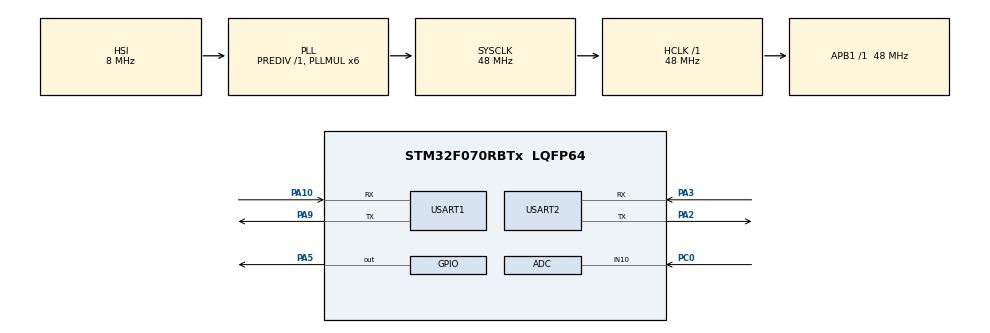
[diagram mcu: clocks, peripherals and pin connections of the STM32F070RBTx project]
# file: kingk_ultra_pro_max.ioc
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ADC.ContinuousConvMode=ENABLE
Mcu.Family=STM32F0
Mcu.Name=STM32F070RBTx
Mcu.Package=LQFP64
NVIC.ADC1_IRQn=true\:1\:0\:true\:false\:true\:true\:true\:true
NVIC.TIM16_IRQn=true\:0\:0\:false\:false\:true\:true\:true\:true
PA10.Mode=Asynchronous
PA10.Signal=USART1_RX
PA2.Mode=Asynchronous
PA2.Signal=USART2_TX
PA3.Mode=Asynchronous
PA3.Signal=USART2_RX
PA5.Signal=GPIO_Output
PA9.Mode=Asynchronous
PA9.Signal=USART1_TX
PC0.Mode=IN10
PC0.Signal=ADC_IN10
ProjectManager.HeapSize=0x200
ProjectManager.StackSize=0x400
ProjectManager.TargetToolchain=MDK-ARM V5.32
RCC.AHBFreq_Value=48000000
RCC.APB1Freq_Value=48000000
RCC.APB1TimFreq_Value=48000000
RCC.HCLKFreq_Value=48000000
RCC.PLLMUL=RCC_PLL_MUL6
RCC.SYSCLKFreq_VALUE=48000000
RCC.SYSCLKSource=RCC_SYSCLKSOURCE_PLLCLK
TIM16.Period=1000-1
TIM16.Prescaler=48000-1
USART1.VirtualMode-Asynchronous=VM_ASYNC
USART2.VirtualMode-Asynchronous=VM_ASYNC
VP_TIM16_VS_ClockSourceINT.Mode=Enable_Timer
board=custom

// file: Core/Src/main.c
/* USER CODE BEGIN Header */
/**
  ******************************************************************************
  * @file           : main.c
  * @brief          : Main program body
  ******************************************************************************
  * @attention
  *
  * Copyright (c) 2023 STMicroelectronics.
  * All rights reserved.
  *
  * This software is licensed under terms that can be found in the LICENSE file
  * in the root directory of this software component.
  * If no LICENSE file comes with this software, it is provided AS-IS.
  *
  ******************************************************************************
  */
/* USER CODE END Header */
#include "main.h"

/* USER CODE BEGIN Includes */
#include "string.h"
#include "stdio.h"
/* USER CODE END Includes */

ADC_HandleTypeDef hadc;

TIM_HandleTypeDef htim16;

UART_HandleTypeDef huart1;
UART_HandleTypeDef huart2;

/* USER CODE BEGIN PV */
int cnt = 0,maxCnt=-1;
uint8_t tx_buffer[] = "Hello\n";
int oneSecondFlag = 0,countFlag=0;
uint16_t adc_buffer;
char buffer_str[5],max_buffer[5010];
/* USER CODE END PV */

void SystemClock_Config(void);
static void MX_GPIO_Init(void);
static void MX_ADC_Init(void);
static void MX_TIM16_Init(void);
static void MX_USART1_UART_Init(void);
static void MX_USART2_UART_Init(void);

/* USER CODE BEGIN 0 */
void HAL_TIM_PeriodElapsedCallback(TIM_HandleTypeDef *htim){
	oneSecondFlag = 1;
	HAL_ADC_Stop_IT(&hadc);
	if (cnt > maxCnt) maxCnt = cnt;
	cnt = 0;

}

void HAL_ADC_ConvCpltCallback(ADC_HandleTypeDef* hadc){
	cnt++;
	adc_buffer = HAL_ADC_GetValue(hadc);
	sprintf(buffer_str, "%u\n", adc_buffer);
	if(strlen(max_buffer) + strlen(buffer_str) < 5010) {
        strcat(max_buffer, buffer_str);
    }

}

void HAL_UART_TxCpltCallback(UART_HandleTypeDef *huart) {

}
/* USER CODE END 0 */

int main(void)
{

  /* MCU Configuration--------------------------------------------------------*/

  /* Reset of all peripherals, Initializes the Flash interface and the Systick. */
  HAL_Init();

  /* Configure the system clock */
  SystemClock_Config();

  /* Initialize all configured peripherals */
  MX_GPIO_Init();
  MX_ADC_Init();
  MX_TIM16_Init();
  MX_USART1_UART_Init();
  MX_USART2_UART_Init();
  /* USER CODE BEGIN 2 */
	HAL_TIM_Base_Start_IT(&htim16);
	HAL_ADC_Start_IT(&hadc);
  /* USER CODE END 2 */

  /* Infinite loop */
  while (1)
  {

    /* USER CODE BEGIN 3 */
		if (oneSecondFlag == 1){
			oneSecondFlag = 0;
		//HAL_UART_Transmit(&huart2,(uint8_t*)tx_buffer,sizeof(tx_buffer),HAL_MAX_DELAY);
		//HAL_UART_Transmit(&huart1,(uint8_t*)max_buffer,sizeof(max_buffer),HAL_MAX_DELAY);
		HAL_UART_Transmit(&huart2,(uint8_t*)max_buffer,sizeof(max_buffer),HAL_MAX_DELAY);
			memset(max_buffer, '\0', sizeof(max_buffer));
			HAL_ADC_Start_IT(&hadc);
	  //HAL_Delay(1000);

		}
		else {
			HAL_UART_Transmit_IT(&huart1,(uint8_t*)"$ ",2);
			HAL_ADC_Start_IT(&hadc);
		}

  }
  /* USER CODE END 3 */
}

void SystemClock_Config(void)
{
  RCC_OscInitTypeDef RCC_OscInitStruct = {0};
  RCC_ClkInitTypeDef RCC_ClkInitStruct = {0};
  RCC_PeriphCLKInitTypeDef PeriphClkInit = {0};

  /** Initializes the RCC Oscillators according to the specified parameters
  * in the RCC_OscInitTypeDef structure.
  */
  RCC_OscInitStruct.OscillatorType = RCC_OSCILLATORTYPE_HSI|RCC_OSCILLATORTYPE_HSI14;
  RCC_OscInitStruct.HSIState = RCC_HSI_ON;
  RCC_OscInitStruct.HSI14State = RCC_HSI14_ON;
  RCC_OscInitStruct.HSICalibrationValue = RCC_HSICALIBRATION_DEFAULT;
  RCC_OscInitStruct.HSI14CalibrationValue = 16;
  RCC_OscInitStruct.PLL.PLLState = RCC_PLL_ON;
  RCC_OscInitStruct.PLL.PLLSource = RCC_PLLSOURCE_HSI;
  RCC_OscInitStruct.PLL.PLLMUL = RCC_PLL_MUL6;
  RCC_OscInitStruct.PLL.PREDIV = RCC_PREDIV_DIV1;
  if (HAL_RCC_OscConfig(&RCC_OscInitStruct) != HAL_OK)
  {
    Error_Handler();
  }

  /** Initializes the CPU, AHB and APB buses clocks
  */
  RCC_ClkInitStruct.ClockType = RCC_CLOCKTYPE_HCLK|RCC_CLOCKTYPE_SYSCLK
                              |RCC_CLOCKTYPE_PCLK1;
  RCC_ClkInitStruct.SYSCLKSource = RCC_SYSCLKSOURCE_PLLCLK;
  RCC_ClkInitStruct.AHBCLKDivider = RCC_SYSCLK_DIV1;
  RCC_ClkInitStruct.APB1CLKDivider = RCC_HCLK_DIV1;

  if (HAL_RCC_ClockConfig(&RCC_ClkInitStruct, FLASH_LATENCY_1) != HAL_OK)
  {
    Error_Handler();
  }
  PeriphClkInit.PeriphClockSelection = RCC_PERIPHCLK_USART1;
  PeriphClkInit.Usart1ClockSelection = RCC_USART1CLKSOURCE_PCLK1;
  if (HAL_RCCEx_PeriphCLKConfig(&PeriphClkInit) != HAL_OK)
  {
    Error_Handler();
  }
}

static void MX_ADC_Init(void)
{

  ADC_ChannelConfTypeDef sConfig = {0};

  /** Configure the global features of the ADC (Clock, Resolution, Data Alignment and number of conversion)
  */
  hadc.Instance = ADC1;
  hadc.Init.ClockPrescaler = ADC_CLOCK_ASYNC_DIV1;
  hadc.Init.Resolution = ADC_RESOLUTION_12B;
  hadc.Init.DataAlign = ADC_DATAALIGN_RIGHT;
  hadc.Init.ScanConvMode = ADC_SCAN_DIRECTION_FORWARD;
  hadc.Init.EOCSelection = ADC_EOC_SINGLE_CONV;
  hadc.Init.LowPowerAutoWait = DISABLE;
  hadc.Init.LowPowerAutoPowerOff = DISABLE;
  hadc.Init.ContinuousConvMode = ENABLE;
  hadc.Init.DiscontinuousConvMode = DISABLE;
  hadc.Init.ExternalTrigConv = ADC_SOFTWARE_START;
  hadc.Init.ExternalTrigConvEdge = ADC_EXTERNALTRIGCONVEDGE_NONE;
  hadc.Init.DMAContinuousRequests = DISABLE;
  hadc.Init.Overrun = ADC_OVR_DATA_PRESERVED;
  if (HAL_ADC_Init(&hadc) != HAL_OK)
  {
    Error_Handler();
  }

  /** Configure for the selected ADC regular channel to be converted.
  */
  sConfig.Channel = ADC_CHANNEL_10;
  sConfig.Rank = ADC_RANK_CHANNEL_NUMBER;
  sConfig.SamplingTime = ADC_SAMPLETIME_1CYCLE_5;
  if (HAL_ADC_ConfigChannel(&hadc, &sConfig) != HAL_OK)
  {
    Error_Handler();
  }

}

static void MX_TIM16_Init(void)
{

  htim16.Instance = TIM16;
  htim16.Init.Prescaler = 48000-1;
  htim16.Init.CounterMode = TIM_COUNTERMODE_UP;
  htim16.Init.Period = 1000-1;
  htim16.Init.ClockDivision = TIM_CLOCKDIVISION_DIV1;
  htim16.Init.RepetitionCounter = 0;
  htim16.Init.AutoReloadPreload = TIM_AUTORELOAD_PRELOAD_DISABLE;
  if (HAL_TIM_Base_Init(&htim16) != HAL_OK)
  {
    Error_Handler();
  }

}

static void MX_USART1_UART_Init(void)
{

  huart1.Instance = USART1;
  huart1.Init.BaudRate = 38400;
  huart1.Init.WordLength = UART_WORDLENGTH_8B;
  huart1.Init.StopBits = UART_STOPBITS_1;
  huart1.Init.Parity = UART_PARITY_NONE;
  huart1.Init.Mode = UART_MODE_TX_RX;
  huart1.Init.HwFlowCtl = UART_HWCONTROL_NONE;
  huart1.Init.OverSampling = UART_OVERSAMPLING_16;
  huart1.Init.OneBitSampling = UART_ONE_BIT_SAMPLE_DISABLE;
  huart1.AdvancedInit.AdvFeatureInit = UART_ADVFEATURE_NO_INIT;
  if (HAL_UART_Init(&huart1) != HAL_OK)
  {
    Error_Handler();
  }

}

static void MX_USART2_UART_Init(void)
{

  huart2.Instance = USART2;
  huart2.Init.BaudRate = 38400;
  huart2.Init.WordLength = UART_WORDLENGTH_8B;
  huart2.Init.StopBits = UART_STOPBITS_1;
  huart2.Init.Parity = UART_PARITY_NONE;
  huart2.Init.Mode = UART_MODE_TX_RX;
  huart2.Init.HwFlowCtl = UART_HWCONTROL_NONE;
  huart2.Init.OverSampling = UART_OVERSAMPLING_16;
  huart2.Init.OneBitSampling = UART_ONE_BIT_SAMPLE_DISABLE;
  huart2.AdvancedInit.AdvFeatureInit = UART_ADVFEATURE_NO_INIT;
  if (HAL_UART_Init(&huart2) != HAL_OK)
  {
    Error_Handler();
  }

}

static void MX_GPIO_Init(void)
{
  GPIO_InitTypeDef GPIO_InitStruct = {0};

  /* GPIO Ports Clock Enable */
  __HAL_RCC_GPIOC_CLK_ENABLE();
  __HAL_RCC_GPIOA_CLK_ENABLE();

  /*Configure GPIO pin Output Level */
  HAL_GPIO_WritePin(GPIOA, GPIO_PIN_5, GPIO_PIN_RESET);

  /*Configure GPIO pin : PA5 */
  GPIO_InitStruct.Pin = GPIO_PIN_5;
  GPIO_InitStruct.Mode = GPIO_MODE_OUTPUT_PP;
  GPIO_InitStruct.Pull = GPIO_NOPULL;
  GPIO_InitStruct.Speed = GPIO_SPEED_FREQ_LOW;
  HAL_GPIO_Init(GPIOA, &GPIO_InitStruct);

}

void Error_Handler(void)
{
  __disable_irq();
  while (1)
  {
  }
}
